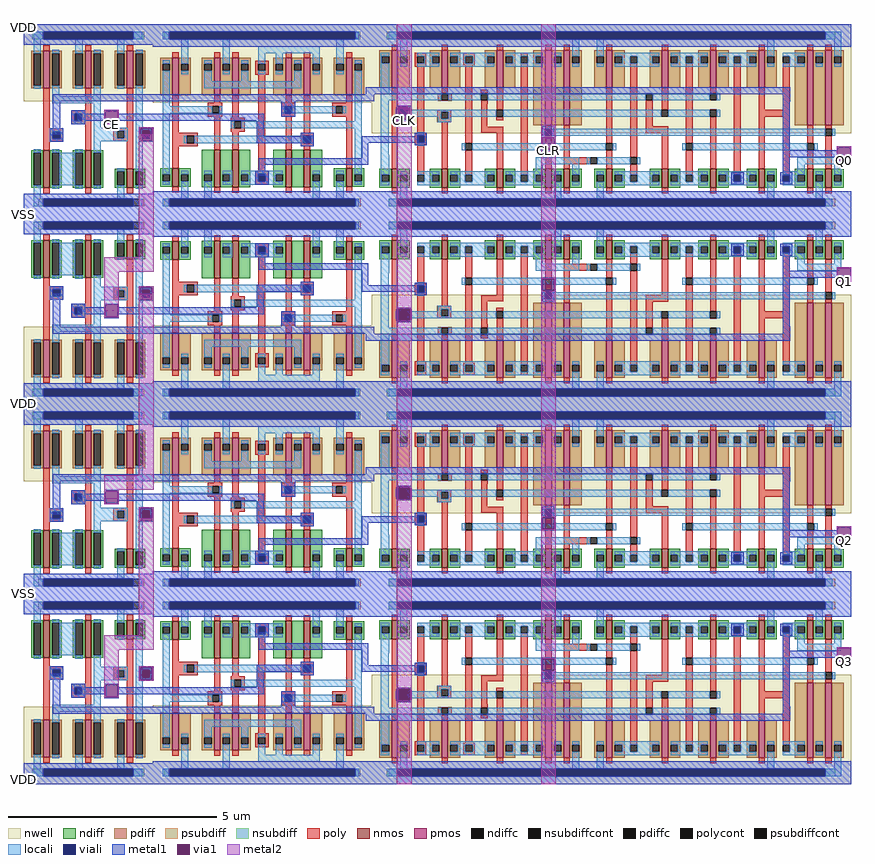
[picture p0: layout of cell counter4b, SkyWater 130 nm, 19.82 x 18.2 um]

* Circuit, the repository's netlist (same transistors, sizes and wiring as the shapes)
* NGSPICE file created from counter4b.ext - technology: sky130A

.subckt dffc VSS VDD Q CLK CLR D
X0 a_298_20# CLK D VSS sky130_fd_pr__nfet_01v8 ad=2.61e+11p pd=2.96e+06u as=1.305e+11p ps=1.48e+06u w=450000u l=150000u
X1 a_1352_20# CLK a_852_n6# VDD sky130_fd_pr__pfet_01v8 ad=5.22e+11p pd=4.76e+06u as=5.22e+11p ps=4.76e+06u w=900000u l=150000u
X2 a_562_20# a_852_n6# VSS VSS sky130_fd_pr__nfet_01v8 ad=3.915e+11p pd=4.44e+06u as=6.525e+11p ps=7.4e+06u w=450000u l=150000u
X3 Qb a_n30_20# a_1352_20# VDD sky130_fd_pr__pfet_01v8 ad=5.22e+11p pd=4.76e+06u as=0p ps=0u w=900000u l=150000u
X4 VSS CLK a_n30_20# VSS sky130_fd_pr__nfet_01v8 ad=0p pd=0u as=1.305e+11p ps=1.48e+06u w=450000u l=150000u
X5 VDD Q Qb VDD sky130_fd_pr__pfet_01v8 ad=1.827e+12p pd=1.55e+07u as=0p ps=0u w=900000u l=150000u
X6 VSS a_1352_20# Q VSS sky130_fd_pr__nfet_01v8 ad=0p pd=0u as=2.61e+11p ps=2.96e+06u w=450000u l=150000u
X7 a_562_20# a_n30_20# a_298_20# VSS sky130_fd_pr__nfet_01v8 ad=0p pd=0u as=0p ps=0u w=450000u l=150000u
X8 a_562_20# CLK a_298_20# VDD sky130_fd_pr__pfet_01v8 ad=7.83e+11p pd=6.56e+06u as=5.22e+11p ps=4.76e+06u w=900000u l=150000u
X9 VDD CLK a_n30_20# VDD sky130_fd_pr__pfet_01v8 ad=0p pd=0u as=2.61e+11p ps=2.38e+06u w=900000u l=150000u
X10 a_1352_20# a_n30_20# a_852_n6# VSS sky130_fd_pr__nfet_01v8 ad=2.61e+11p pd=2.96e+06u as=2.61e+11p ps=2.96e+06u w=450000u l=150000u
X11 VSS CLR a_562_20# VSS sky130_fd_pr__nfet_01v8 ad=0p pd=0u as=0p ps=0u w=450000u l=150000u
X12 Q CLR VSS VSS sky130_fd_pr__nfet_01v8 ad=0p pd=0u as=0p ps=0u w=450000u l=150000u
X13 a_852_n6# a_298_20# VDD VDD sky130_fd_pr__pfet_01v8 ad=0p pd=0u as=0p ps=0u w=900000u l=150000u
X14 a_298_20# a_n30_20# D VDD sky130_fd_pr__pfet_01v8 ad=0p pd=0u as=2.61e+11p ps=2.38e+06u w=900000u l=150000u
X15 Qb CLK a_1352_20# VSS sky130_fd_pr__nfet_01v8 ad=2.61e+11p pd=2.96e+06u as=0p ps=0u w=450000u l=150000u
X16 VDD CLR a_2048_318# VDD sky130_fd_pr__pfet_01v8 ad=0p pd=0u as=5.22e+11p ps=4.18e+06u w=1.8e+06u l=150000u
X17 a_852_n6# a_298_20# VSS VSS sky130_fd_pr__nfet_01v8 ad=0p pd=0u as=0p ps=0u w=450000u l=150000u
X18 VDD a_852_n6# a_794_318# VDD sky130_fd_pr__pfet_01v8 ad=0p pd=0u as=5.22e+11p ps=4.18e+06u w=1.8e+06u l=150000u
X19 a_2048_318# a_1352_20# Q VDD sky130_fd_pr__pfet_01v8 ad=0p pd=0u as=5.22e+11p ps=4.18e+06u w=1.8e+06u l=150000u
X20 a_794_318# CLR a_562_20# VDD sky130_fd_pr__pfet_01v8 ad=0p pd=0u as=0p ps=0u w=1.8e+06u l=150000u
X21 VSS Q Qb VSS sky130_fd_pr__nfet_01v8 ad=0p pd=0u as=0p ps=0u w=450000u l=150000u
.ends

.subckt xor VSS VDD Z A B
X0 a_1372_26# A Z VSS sky130_fd_pr__nfet_01v8 ad=2.61e+11p pd=2.38e+06u as=5.22e+11p ps=4.76e+06u w=900000u l=150000u
X1 Z B a_942_466# VDD sky130_fd_pr__pfet_01v8 ad=5.22e+11p pd=4.76e+06u as=7.83e+11p ps=7.14e+06u w=900000u l=150000u
X2 a_942_466# a_1080_292# VDD VDD sky130_fd_pr__pfet_01v8 ad=0p pd=0u as=7.83e+11p ps=7.14e+06u w=900000u l=150000u
X3 a_1080_292# A VDD VDD sky130_fd_pr__pfet_01v8 ad=2.61e+11p pd=2.38e+06u as=0p ps=0u w=900000u l=150000u
X4 a_942_466# A Z VDD sky130_fd_pr__pfet_01v8 ad=0p pd=0u as=0p ps=0u w=900000u l=150000u
X5 VDD B a_742_28# VDD sky130_fd_pr__pfet_01v8 ad=0p pd=0u as=2.61e+11p ps=2.38e+06u w=900000u l=150000u
X6 VDD a_742_28# a_942_466# VDD sky130_fd_pr__pfet_01v8 ad=0p pd=0u as=0p ps=0u w=900000u l=150000u
X7 a_1080_292# A VSS VSS sky130_fd_pr__nfet_01v8 ad=1.305e+11p pd=1.48e+06u as=7.83e+11p ps=7.72e+06u w=450000u l=150000u
X8 a_1030_26# a_742_28# VSS VSS sky130_fd_pr__nfet_01v8 ad=2.61e+11p pd=2.38e+06u as=0p ps=0u w=900000u l=150000u
X9 VSS B a_742_28# VSS sky130_fd_pr__nfet_01v8 ad=0p pd=0u as=1.305e+11p ps=1.48e+06u w=450000u l=150000u
X10 VSS B a_1372_26# VSS sky130_fd_pr__nfet_01v8 ad=0p pd=0u as=0p ps=0u w=900000u l=150000u
X11 Z a_1080_292# a_1030_26# VSS sky130_fd_pr__nfet_01v8 ad=0p pd=0u as=0p ps=0u w=900000u l=150000u
.ends

.subckt sky130_fd_pr__nfet_01v8_J6HC3N VSUBS a_n73_n45# a_n15_n71# a_15_n45#
X0 a_15_n45# a_n15_n71# a_n73_n45# VSUBS sky130_fd_pr__nfet_01v8 ad=1.305e+11p pd=1.48e+06u as=1.305e+11p ps=1.48e+06u w=450000u l=150000u
.ends

.subckt sky130_fd_pr__pfet_01v8_5AY9XA VSUBS a_n15_n116# a_n73_n90# w_n109_n152# a_15_n90#
X0 a_15_n90# a_n15_n116# a_n73_n90# w_n109_n152# sky130_fd_pr__pfet_01v8 ad=2.61e+11p pd=2.38e+06u as=2.61e+11p ps=2.38e+06u w=900000u l=150000u
.ends

.subckt sky130_fd_pr__nfet_01v8_PEKVP3 VSUBS a_n15_n116# a_n73_n90# a_15_n90#
X0 a_15_n90# a_n15_n116# a_n73_n90# VSUBS sky130_fd_pr__nfet_01v8 ad=2.61e+11p pd=2.38e+06u as=2.61e+11p ps=2.38e+06u w=900000u l=150000u
.ends

.subckt and VSS VDD Z A B
Xsky130_fd_pr__nfet_01v8_J6HC3N_0 VSS VSS a_394_4# Z sky130_fd_pr__nfet_01v8_J6HC3N
Xsky130_fd_pr__pfet_01v8_5AY9XA_0 VSS B VDD VDD a_394_4# sky130_fd_pr__pfet_01v8_5AY9XA
Xsky130_fd_pr__pfet_01v8_5AY9XA_1 VSS A VDD VDD a_394_4# sky130_fd_pr__pfet_01v8_5AY9XA
Xsky130_fd_pr__pfet_01v8_5AY9XA_2 VSS a_394_4# VDD VDD Z sky130_fd_pr__pfet_01v8_5AY9XA
Xsky130_fd_pr__nfet_01v8_PEKVP3_1 VSS A li_134_n206# a_394_4# sky130_fd_pr__nfet_01v8_PEKVP3
Xsky130_fd_pr__nfet_01v8_PEKVP3_0 VSS B VSS li_134_n206# sky130_fd_pr__nfet_01v8_PEKVP3
.ends

.subckt counter1b VSS CE CLK VDD Dn CLR Sout
Xdffc_0 VSS VDD Dn CLK CLR xor_0/Z dffc
Xxor_0 VSS VDD xor_0/Z Dn CE xor
Xand_0 VSS VDD Sout CE Dn and
.ends


* Top level circuit counter4b

Xcounter1b_0 VSS CE CLK VDD Q0 CLR counter1b_1/CE counter1b
Xcounter1b_1 VSS counter1b_1/CE CLK VDD Q1 CLR counter1b_2/CE counter1b
Xcounter1b_2 VSS counter1b_2/CE CLK VDD Q2 CLR counter1b_3/CE counter1b
Xcounter1b_3 VSS counter1b_3/CE CLK VDD Q3 CLR counter1b_3/Sout counter1b
.end

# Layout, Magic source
magic
tech sky130A
magscale 1 2
<< metal1 >>
rect 0 872 3964 910
rect 0 -18 3964 20
rect 0 -929 3964 -891
rect 0 -1839 3964 -1801
rect 0 -2730 3964 -2692
<< metal2 >>
rect 386 429 456 499
rect 1788 448 1858 518
rect 552 -206 622 383
rect 2478 303 2548 373
rect 3894 254 3964 324
rect 386 -276 622 -206
rect 386 -466 456 -276
rect 3894 -324 3964 -254
rect 552 -1251 622 -383
rect 386 -1321 622 -1251
rect 386 -1364 456 -1321
rect 552 -2018 622 -1458
rect 3894 -1566 3964 -1496
rect 386 -2088 622 -2018
rect 386 -2251 456 -2088
rect 3894 -2144 3964 -2074
use counter1b  counter1b_3
transform 1 0 1668 0 -1 -1820
box -1668 0 2296 910
use counter1b  counter1b_2
transform 1 0 1668 0 1 -1820
box -1668 0 2296 910
use counter1b  counter1b_1
transform 1 0 1668 0 -1 0
box -1668 0 2296 910
use counter1b  counter1b_0
transform 1 0 1668 0 1 0
box -1668 0 2296 910
<< labels >>
rlabel metal2 420 429 420 429 5 CE
rlabel metal1 0 -2710 0 -2710 7 VDD
rlabel metal1 0 -1819 0 -1819 7 VSS
rlabel metal1 0 -907 0 -907 7 VDD
rlabel metal1 0 0 0 0 7 VSS
rlabel metal1 0 891 0 891 7 VDD
rlabel metal2 1823 448 1823 448 5 CLK
rlabel metal2 2513 303 2513 303 5 CLR
rlabel metal2 3929 254 3929 254 5 Q0
rlabel metal2 3930 -1566 3930 -1566 5 Q2
rlabel metal2 3929 -324 3929 -324 5 Q1
rlabel metal2 3929 -2144 3929 -2144 5 Q3
rlabel metal1 0 -2730 0 -2730 7 VDD
rlabel metal1 0 -929 0 -929 7 VDD
rlabel metal1 0 872 0 872 7 VDD
rlabel metal1 0 -18 0 -18 7 VSS
rlabel metal1 0 -1839 0 -1839 7 VSS
<< end >>

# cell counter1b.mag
magic
tech sky130A
magscale 1 2
<< metal1 >>
rect -1668 877 2296 910
rect -29 574 2003 607
rect -429 573 12 574
rect -1529 541 12 573
rect -1529 381 -1494 541
rect -434 517 -368 541
rect 1967 540 2003 574
rect -434 513 -383 517
rect -1282 493 -1212 499
rect -1282 481 -1276 493
rect -1409 447 -1276 481
rect -1282 435 -1276 447
rect -1218 481 -1212 493
rect -418 488 -383 513
rect 120 512 190 518
rect -1218 447 -518 481
rect 120 454 126 512
rect 184 454 190 512
rect 120 448 190 454
rect -1218 435 -1212 447
rect -1282 429 -1212 435
rect -1116 410 -1046 416
rect -1116 352 -1110 410
rect -1052 352 -1046 410
rect -1116 346 -1046 352
rect -552 373 -518 447
rect -552 339 -296 373
rect -49 342 223 373
rect 810 367 880 373
rect -49 266 -18 342
rect 810 309 816 367
rect 874 309 880 367
rect 810 303 880 309
rect 1967 305 2002 540
rect 2226 318 2296 324
rect 2226 305 2232 318
rect -542 235 -18 266
rect 1967 271 2232 305
rect -542 184 -511 235
rect 1967 185 2002 271
rect 2226 260 2232 271
rect 2290 260 2296 318
rect 2226 254 2296 260
rect -1668 0 2296 33
<< via1 >>
rect -1276 435 -1218 493
rect 126 454 184 512
rect -1110 352 -1052 410
rect 816 309 874 367
rect 2232 260 2290 318
<< metal2 >>
rect 120 512 190 910
rect -1282 493 -1212 498
rect -1282 435 -1276 493
rect -1218 435 -1212 493
rect -1282 429 -1212 435
rect 120 454 126 512
rect 184 454 190 512
rect -1116 410 -1046 416
rect -1116 352 -1110 410
rect -1052 352 -1046 410
rect -1116 346 -1046 352
rect 120 0 190 454
rect 810 367 880 910
rect 810 309 816 367
rect 874 309 880 367
rect 810 0 880 309
rect 2226 318 2296 324
rect 2226 260 2232 318
rect 2290 260 2296 318
rect 2226 254 2296 260
use xor_scan  xor_scan_0
transform 1 0 -1756 0 1 102
box 706 -102 1756 808
use dffc  dffc_0
transform 1 0 66 0 1 106
box -66 -106 2230 804
use and_scan  and_scan_0
transform 1 0 -1632 0 1 344
box -36 -344 582 566
<< labels >>
rlabel metal2 845 910 845 910 1 CLR
rlabel metal2 2296 288 2296 288 3 Dn
rlabel metal2 157 910 157 910 1 CLK
rlabel metal2 -1246 498 -1246 498 1 CE
rlabel metal2 -1081 346 -1081 346 5 Sout
rlabel metal1 260 910 260 910 1 VDD
rlabel metal1 226 0 226 0 5 VSS
rlabel metal1 15 16 15 16 5 VSS
rlabel space 15 852 15 852 5 VDD
<< end >>

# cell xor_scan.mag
magic
tech sky130A
magscale 1 2
<< nwell >>
rect 706 430 1756 808
<< nmos >>
rect 800 28 830 118
rect 1000 26 1030 206
rect 1088 26 1118 206
rect 1342 26 1372 206
rect 1430 26 1460 206
rect 1632 28 1662 118
<< pmos >>
rect 800 466 830 646
rect 1000 466 1030 646
rect 1088 466 1118 646
rect 1342 466 1372 646
rect 1430 466 1460 646
rect 1632 466 1662 646
<< ndiff >>
rect 742 88 800 118
rect 742 54 754 88
rect 788 54 800 88
rect 742 28 800 54
rect 830 88 888 118
rect 830 54 842 88
rect 876 54 888 88
rect 830 28 888 54
rect 942 88 1000 206
rect 942 54 954 88
rect 988 54 1000 88
rect 942 26 1000 54
rect 1030 88 1088 206
rect 1030 54 1042 88
rect 1076 54 1088 88
rect 1030 26 1088 54
rect 1118 88 1174 206
rect 1118 54 1130 88
rect 1164 54 1174 88
rect 1118 26 1174 54
rect 1284 88 1342 206
rect 1284 54 1296 88
rect 1330 54 1342 88
rect 1284 26 1342 54
rect 1372 26 1430 206
rect 1460 88 1518 206
rect 1460 54 1472 88
rect 1506 54 1518 88
rect 1460 26 1518 54
rect 1574 88 1632 118
rect 1574 54 1586 88
rect 1620 54 1632 88
rect 1574 28 1632 54
rect 1662 88 1720 118
rect 1662 54 1674 88
rect 1708 54 1720 88
rect 1662 28 1720 54
<< pdiff >>
rect 742 618 800 646
rect 742 584 754 618
rect 788 584 800 618
rect 742 466 800 584
rect 830 618 888 646
rect 830 584 842 618
rect 876 584 888 618
rect 830 466 888 584
rect 942 618 1000 646
rect 942 584 954 618
rect 988 584 1000 618
rect 942 466 1000 584
rect 1030 618 1088 646
rect 1030 584 1042 618
rect 1076 584 1088 618
rect 1030 466 1088 584
rect 1118 618 1176 646
rect 1118 584 1130 618
rect 1164 584 1176 618
rect 1118 466 1176 584
rect 1284 618 1342 646
rect 1284 584 1296 618
rect 1330 584 1342 618
rect 1284 466 1342 584
rect 1372 618 1430 646
rect 1372 584 1384 618
rect 1418 584 1430 618
rect 1372 466 1430 584
rect 1460 618 1518 646
rect 1460 584 1472 618
rect 1506 584 1518 618
rect 1460 466 1518 584
rect 1574 618 1632 646
rect 1574 584 1586 618
rect 1620 584 1632 618
rect 1574 466 1632 584
rect 1662 618 1720 646
rect 1662 584 1674 618
rect 1708 584 1720 618
rect 1662 466 1720 584
<< ndiffc >>
rect 754 54 788 88
rect 842 54 876 88
rect 954 54 988 88
rect 1042 54 1076 88
rect 1130 54 1164 88
rect 1296 54 1330 88
rect 1472 54 1506 88
rect 1586 54 1620 88
rect 1674 54 1708 88
<< pdiffc >>
rect 754 584 788 618
rect 842 584 876 618
rect 954 584 988 618
rect 1042 584 1076 618
rect 1130 584 1164 618
rect 1296 584 1330 618
rect 1384 584 1418 618
rect 1472 584 1506 618
rect 1586 584 1620 618
rect 1674 584 1708 618
<< psubdiff >>
rect 762 -64 786 -30
rect 1678 -64 1702 -30
<< nsubdiff >>
rect 762 736 786 770
rect 1676 736 1700 770
<< psubdiffcont >>
rect 786 -64 1678 -30
<< nsubdiffcont >>
rect 786 736 1676 770
<< poly >>
rect 800 646 830 672
rect 1000 646 1030 672
rect 1088 646 1118 672
rect 1342 646 1372 672
rect 1430 646 1460 672
rect 1632 646 1662 672
rect 1196 618 1262 632
rect 1196 584 1212 618
rect 1246 584 1262 618
rect 1196 566 1262 584
rect 800 288 830 466
rect 1000 430 1030 466
rect 970 414 1038 430
rect 970 380 990 414
rect 1024 380 1038 414
rect 970 364 1038 380
rect 800 272 922 288
rect 800 238 870 272
rect 904 238 922 272
rect 800 222 922 238
rect 800 118 830 222
rect 1000 206 1030 364
rect 1088 358 1118 466
rect 1080 342 1146 358
rect 1080 308 1096 342
rect 1130 308 1146 342
rect 1080 292 1146 308
rect 1088 206 1118 292
rect 800 2 830 28
rect 1212 104 1246 566
rect 1342 430 1372 466
rect 1322 414 1388 430
rect 1322 380 1338 414
rect 1372 380 1388 414
rect 1322 364 1388 380
rect 1342 206 1372 364
rect 1430 288 1460 466
rect 1632 430 1662 466
rect 1566 414 1662 430
rect 1566 380 1582 414
rect 1616 380 1662 414
rect 1566 364 1662 380
rect 1414 272 1478 288
rect 1414 238 1428 272
rect 1462 238 1478 272
rect 1414 222 1478 238
rect 1430 206 1460 222
rect 1196 90 1262 104
rect 1196 54 1212 90
rect 1246 54 1262 90
rect 1196 38 1262 54
rect 1632 118 1662 364
rect 1000 0 1030 26
rect 1088 0 1118 26
rect 1342 0 1372 26
rect 1430 0 1460 26
rect 1632 2 1662 28
<< polycont >>
rect 1212 584 1246 618
rect 990 380 1024 414
rect 870 238 904 272
rect 1096 308 1130 342
rect 1338 380 1372 414
rect 1582 380 1616 414
rect 1428 238 1462 272
rect 1212 54 1246 90
<< locali >>
rect 754 736 786 770
rect 1676 736 1692 770
rect 754 618 788 634
rect 754 414 788 584
rect 842 618 876 736
rect 842 568 876 584
rect 954 618 988 634
rect 954 534 988 584
rect 1042 618 1076 736
rect 1212 668 1506 702
rect 1042 568 1076 584
rect 1130 618 1164 634
rect 1130 534 1164 584
rect 1212 618 1246 668
rect 1212 568 1246 584
rect 1296 618 1330 668
rect 1296 568 1330 584
rect 1384 618 1418 634
rect 1384 534 1418 584
rect 1472 618 1506 668
rect 1472 568 1506 584
rect 1586 618 1620 736
rect 1586 568 1620 584
rect 1674 618 1708 634
rect 954 500 1418 534
rect 754 380 990 414
rect 1024 380 1040 414
rect 1322 380 1338 414
rect 1372 380 1582 414
rect 1616 380 1632 414
rect 754 88 788 380
rect 1674 342 1708 584
rect 1080 308 1096 342
rect 1130 308 1708 342
rect 854 238 870 272
rect 904 238 1428 272
rect 1462 238 1478 272
rect 754 38 788 54
rect 842 88 876 104
rect 842 -30 876 54
rect 954 88 988 104
rect 954 -30 988 54
rect 1042 88 1088 104
rect 1076 54 1088 88
rect 1042 38 1088 54
rect 1130 90 1330 104
rect 1130 88 1212 90
rect 1164 54 1212 88
rect 1246 88 1330 90
rect 1246 54 1296 88
rect 1130 38 1330 54
rect 1472 88 1506 104
rect 1472 -30 1506 54
rect 1586 88 1620 104
rect 1586 -30 1620 54
rect 1674 88 1708 308
rect 1674 38 1708 54
rect 754 -64 786 -30
rect 1678 -64 1694 -30
<< viali >>
rect 786 736 1676 770
rect 1338 380 1372 414
rect 1428 238 1462 272
rect 1212 54 1246 90
rect 786 -64 1676 -30
<< metal1 >>
rect 706 770 1756 808
rect 706 736 786 770
rect 1676 736 1756 770
rect 706 698 1756 736
rect 1322 414 1388 430
rect 1322 380 1338 414
rect 1372 380 1388 414
rect 1322 364 1388 380
rect 1414 272 1478 288
rect 1414 238 1428 272
rect 1462 238 1478 272
rect 1414 222 1478 238
rect 1196 90 1262 104
rect 1196 54 1212 90
rect 1246 54 1262 90
rect 1196 38 1262 54
rect 706 -30 1756 8
rect 706 -64 786 -30
rect 1676 -64 1756 -30
rect 706 -102 1756 -64
<< labels >>
rlabel metal1 1196 38 1262 54 5 Z
rlabel metal1 1228 808 1228 808 1 VDD
rlabel metal1 1228 -102 1228 -102 5 VSS
rlabel metal1 1446 222 1446 222 5 B
rlabel metal1 1322 364 1388 380 5 A
<< end >>

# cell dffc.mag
magic
tech sky130A
magscale 1 2
<< nwell >>
rect -66 280 2230 804
<< nmos >>
rect 28 20 58 110
rect 268 20 298 110
rect 532 20 562 110
rect 764 20 794 110
rect 852 20 882 110
rect 1056 20 1086 110
rect 1322 20 1352 110
rect 1554 20 1584 110
rect 1786 20 1816 110
rect 2018 20 2048 110
rect 2106 20 2136 110
<< pmos >>
rect 28 498 58 678
rect 268 498 298 678
rect 532 498 562 678
rect 764 318 794 678
rect 852 318 882 678
rect 1056 498 1086 678
rect 1322 498 1352 678
rect 1554 498 1584 678
rect 1786 498 1816 678
rect 2018 318 2048 678
rect 2106 318 2136 678
<< ndiff >>
rect -30 82 28 110
rect -30 48 -18 82
rect 16 48 28 82
rect -30 20 28 48
rect 58 82 116 110
rect 58 48 70 82
rect 104 48 116 82
rect 210 82 268 110
rect 210 48 222 82
rect 256 48 268 82
rect 58 20 116 48
rect 210 20 268 48
rect 298 82 356 110
rect 298 48 310 82
rect 344 48 356 82
rect 474 82 532 110
rect 474 48 486 82
rect 520 48 532 82
rect 298 20 356 48
rect 474 20 532 48
rect 562 82 620 110
rect 562 48 574 82
rect 608 48 620 82
rect 706 82 764 110
rect 706 48 718 82
rect 752 48 764 82
rect 562 20 620 48
rect 706 20 764 48
rect 794 82 852 110
rect 794 48 806 82
rect 840 48 852 82
rect 794 20 852 48
rect 882 82 940 110
rect 882 48 894 82
rect 928 48 940 82
rect 882 20 940 48
rect 998 82 1056 110
rect 998 48 1010 82
rect 1044 48 1056 82
rect 998 20 1056 48
rect 1086 82 1144 110
rect 1086 48 1098 82
rect 1132 48 1144 82
rect 1264 82 1322 110
rect 1264 48 1276 82
rect 1310 48 1322 82
rect 1086 20 1144 48
rect 1264 20 1322 48
rect 1352 82 1410 110
rect 1352 48 1364 82
rect 1398 48 1410 82
rect 1496 82 1554 110
rect 1496 48 1508 82
rect 1542 48 1554 82
rect 1352 20 1410 48
rect 1496 20 1554 48
rect 1584 82 1642 110
rect 1584 48 1596 82
rect 1630 48 1642 82
rect 1728 82 1786 110
rect 1728 48 1740 82
rect 1774 48 1786 82
rect 1584 20 1642 48
rect 1728 20 1786 48
rect 1816 82 1874 110
rect 1816 48 1828 82
rect 1862 48 1874 82
rect 1960 82 2018 110
rect 1960 48 1972 82
rect 2006 48 2018 82
rect 1816 20 1874 48
rect 1960 20 2018 48
rect 2048 82 2106 110
rect 2048 48 2060 82
rect 2094 48 2106 82
rect 2048 20 2106 48
rect 2136 82 2194 110
rect 2136 48 2148 82
rect 2182 48 2194 82
rect 2136 20 2194 48
<< pdiff >>
rect -30 650 28 678
rect -30 616 -18 650
rect 16 616 28 650
rect -30 498 28 616
rect 58 650 116 678
rect 58 616 70 650
rect 104 616 116 650
rect 58 498 116 616
rect 210 650 268 678
rect 210 616 222 650
rect 256 616 268 650
rect 210 498 268 616
rect 298 650 356 678
rect 298 616 310 650
rect 344 616 356 650
rect 298 498 356 616
rect 474 650 532 678
rect 474 616 486 650
rect 520 616 532 650
rect 474 498 532 616
rect 562 650 620 678
rect 562 616 574 650
rect 608 616 620 650
rect 562 498 620 616
rect 706 650 764 678
rect 706 616 718 650
rect 752 616 764 650
rect 706 318 764 616
rect 794 650 852 678
rect 794 616 806 650
rect 840 616 852 650
rect 794 318 852 616
rect 882 650 940 678
rect 882 616 894 650
rect 928 616 940 650
rect 882 318 940 616
rect 998 650 1056 678
rect 998 616 1010 650
rect 1044 616 1056 650
rect 998 498 1056 616
rect 1086 650 1144 678
rect 1264 650 1322 678
rect 1086 616 1098 650
rect 1132 616 1144 650
rect 1086 498 1144 616
rect 1264 616 1276 650
rect 1310 616 1322 650
rect 1264 498 1322 616
rect 1352 650 1410 678
rect 1496 650 1554 678
rect 1352 616 1364 650
rect 1398 616 1410 650
rect 1352 498 1410 616
rect 1496 616 1508 650
rect 1542 616 1554 650
rect 1496 498 1554 616
rect 1584 650 1642 678
rect 1728 650 1786 678
rect 1584 616 1596 650
rect 1630 616 1642 650
rect 1584 498 1642 616
rect 1728 616 1740 650
rect 1774 616 1786 650
rect 1728 498 1786 616
rect 1816 650 1874 678
rect 1960 650 2018 678
rect 1816 616 1828 650
rect 1862 616 1874 650
rect 1816 498 1874 616
rect 1960 616 1972 650
rect 2006 616 2018 650
rect 1960 318 2018 616
rect 2048 650 2106 678
rect 2048 616 2060 650
rect 2094 616 2106 650
rect 2048 318 2106 616
rect 2136 650 2194 678
rect 2136 616 2148 650
rect 2182 616 2194 650
rect 2136 318 2194 616
<< ndiffc >>
rect -18 48 16 82
rect 70 48 104 82
rect 222 48 256 82
rect 310 48 344 82
rect 486 48 520 82
rect 574 48 608 82
rect 718 48 752 82
rect 806 48 840 82
rect 894 48 928 82
rect 1010 48 1044 82
rect 1098 48 1132 82
rect 1276 48 1310 82
rect 1364 48 1398 82
rect 1508 48 1542 82
rect 1596 48 1630 82
rect 1740 48 1774 82
rect 1828 48 1862 82
rect 1972 48 2006 82
rect 2060 48 2094 82
rect 2148 48 2182 82
<< pdiffc >>
rect -18 616 16 650
rect 70 616 104 650
rect 222 616 256 650
rect 310 616 344 650
rect 486 616 520 650
rect 574 616 608 650
rect 718 616 752 650
rect 806 616 840 650
rect 894 616 928 650
rect 1010 616 1044 650
rect 1098 616 1132 650
rect 1276 616 1310 650
rect 1364 616 1398 650
rect 1508 616 1542 650
rect 1596 616 1630 650
rect 1740 616 1774 650
rect 1828 616 1862 650
rect 1972 616 2006 650
rect 2060 616 2094 650
rect 2148 616 2182 650
<< psubdiff >>
rect 14 -68 58 -34
rect 2106 -68 2154 -34
<< nsubdiff >>
rect 4 732 58 766
rect 2106 732 2154 766
<< psubdiffcont >>
rect 58 -68 2106 -34
<< nsubdiffcont >>
rect 58 732 2106 766
<< poly >>
rect 28 678 58 704
rect 268 678 298 704
rect 532 678 562 704
rect 764 678 794 704
rect 852 678 882 704
rect 1056 678 1086 704
rect 1322 678 1352 704
rect 1554 678 1584 704
rect 1786 678 1816 704
rect 2018 678 2048 704
rect 2106 678 2136 704
rect 140 650 194 666
rect 140 616 150 650
rect 184 616 194 650
rect 140 600 194 616
rect 28 410 58 498
rect 28 394 108 410
rect 28 360 64 394
rect 98 360 108 394
rect 28 344 108 360
rect 28 110 58 344
rect 150 280 184 600
rect 372 650 426 666
rect 372 616 382 650
rect 416 616 426 650
rect 372 606 426 616
rect 380 600 416 606
rect 268 472 298 498
rect 250 438 266 472
rect 300 438 316 472
rect 250 436 316 438
rect 247 384 315 394
rect 247 350 265 384
rect 299 350 315 384
rect 247 333 315 350
rect 140 270 194 280
rect 140 236 150 270
rect 184 236 194 270
rect 140 226 194 236
rect 150 82 184 226
rect 268 110 298 333
rect 380 234 414 600
rect 646 650 680 666
rect 455 472 489 488
rect 457 422 489 438
rect 457 312 487 422
rect 532 394 562 498
rect 530 344 564 360
rect 457 282 562 312
rect 380 82 414 200
rect 532 110 562 282
rect 646 82 680 616
rect 764 302 794 318
rect 764 110 794 268
rect 852 166 882 318
rect 1056 234 1086 498
rect 852 132 980 166
rect 852 110 882 132
rect 1056 110 1086 200
rect 1170 166 1204 616
rect 1246 314 1280 438
rect 1322 394 1352 498
rect 1246 280 1352 314
rect 1170 82 1204 132
rect 1322 110 1352 280
rect 1436 234 1470 616
rect 1554 472 1584 498
rect 1554 394 1584 396
rect 1436 82 1470 200
rect 1554 110 1584 360
rect 1666 82 1700 616
rect 1786 394 1816 498
rect 1902 394 1936 616
rect 1786 360 1936 394
rect 1786 110 1816 360
rect 1902 82 1936 360
rect 2018 234 2048 318
rect 2106 302 2136 318
rect 2018 110 2048 200
rect 2106 110 2136 268
rect 28 -6 58 20
rect 268 -6 298 20
rect 532 -6 562 20
rect 764 -6 794 20
rect 852 -6 882 20
rect 1056 -6 1086 20
rect 1322 -6 1352 20
rect 1554 -6 1584 20
rect 1786 -6 1816 20
rect 2018 -6 2048 20
rect 2106 -6 2136 20
<< polycont >>
rect 150 616 184 650
rect 64 360 98 394
rect 382 616 416 650
rect 266 438 300 472
rect 265 350 299 384
rect 150 236 184 270
rect 646 616 680 650
rect 455 438 489 472
rect 530 360 564 394
rect 380 200 414 234
rect 150 48 184 82
rect 380 48 414 82
rect 1170 616 1204 650
rect 762 268 796 302
rect 1054 200 1088 234
rect 980 132 1014 166
rect 1436 616 1470 650
rect 1246 438 1280 472
rect 1320 360 1354 394
rect 1170 132 1204 166
rect 646 48 680 82
rect 1666 616 1700 650
rect 1552 438 1586 472
rect 1552 360 1586 394
rect 1436 200 1470 234
rect 1170 48 1204 82
rect 1436 48 1470 82
rect 1902 616 1936 650
rect 1666 48 1700 82
rect 2104 268 2138 302
rect 2018 200 2052 234
rect 1902 48 1936 82
<< locali >>
rect 14 732 58 766
rect 2106 732 2182 766
rect -23 650 16 666
rect -23 616 -18 650
rect -23 472 16 616
rect 70 650 104 732
rect 70 600 104 616
rect 150 650 256 666
rect 184 616 222 650
rect 150 600 256 616
rect 310 650 520 666
rect 344 616 382 650
rect 416 616 486 650
rect 310 600 520 616
rect 574 650 752 666
rect 608 616 646 650
rect 680 616 718 650
rect 574 600 752 616
rect 806 650 840 666
rect 806 600 840 616
rect 894 650 928 732
rect 894 600 928 616
rect 1010 650 1044 732
rect 1010 600 1044 616
rect 1098 650 1310 666
rect 1132 616 1170 650
rect 1204 616 1276 650
rect 1098 600 1310 616
rect 1364 650 1542 666
rect 1398 616 1436 650
rect 1470 616 1508 650
rect 1364 600 1542 616
rect 1596 650 1774 666
rect 1630 616 1666 650
rect 1700 616 1740 650
rect 1596 600 1774 616
rect 1828 650 1862 732
rect 1828 600 1862 616
rect 1902 650 2006 666
rect 1936 616 1972 650
rect 1902 600 2006 616
rect 2060 650 2094 666
rect 2060 600 2094 616
rect 2148 650 2182 732
rect 2148 600 2182 616
rect -23 438 266 472
rect 300 438 455 472
rect 489 438 1246 472
rect 1280 438 1552 472
rect 1586 438 1602 472
rect -23 175 14 438
rect 48 360 64 394
rect 98 384 530 394
rect 98 360 265 384
rect 249 350 265 360
rect 299 360 530 384
rect 564 360 1320 394
rect 1354 360 1552 394
rect 1586 360 1602 394
rect 299 350 315 360
rect 249 334 315 350
rect 150 270 184 286
rect 746 268 762 302
rect 796 268 2104 302
rect 2138 268 2154 302
rect 150 220 184 236
rect 364 200 380 234
rect 414 200 1054 234
rect 1088 200 1104 234
rect 1420 200 1436 234
rect 1470 200 2018 234
rect 2052 200 2068 234
rect -23 82 16 175
rect 718 132 928 166
rect 964 132 980 166
rect 1014 132 1170 166
rect 1204 132 1220 166
rect 1972 132 2182 166
rect 718 98 752 132
rect -23 48 -18 82
rect -23 32 16 48
rect 70 82 104 98
rect 70 -34 104 48
rect 150 82 256 98
rect 184 48 222 82
rect 150 32 256 48
rect 310 82 520 98
rect 344 48 380 82
rect 414 48 486 82
rect 310 32 520 48
rect 574 82 752 98
rect 608 48 646 82
rect 680 48 718 82
rect 574 32 752 48
rect 806 82 840 98
rect 806 -34 840 48
rect 894 82 928 132
rect 1972 98 2006 132
rect 894 32 928 48
rect 1010 82 1044 98
rect 1010 -34 1044 48
rect 1098 82 1310 98
rect 1132 48 1170 82
rect 1204 48 1276 82
rect 1098 32 1310 48
rect 1364 82 1542 98
rect 1398 48 1436 82
rect 1470 48 1508 82
rect 1364 32 1542 48
rect 1596 82 1774 98
rect 1630 48 1666 82
rect 1700 48 1740 82
rect 1596 32 1774 48
rect 1828 82 1862 98
rect 1828 -34 1862 48
rect 1902 82 2006 98
rect 1936 48 1972 82
rect 1902 32 2006 48
rect 2060 82 2094 98
rect 2060 -34 2094 48
rect 2148 82 2182 132
rect 2148 32 2182 48
rect 14 -68 58 -34
rect 2106 -68 2138 -34
<< viali >>
rect 58 732 2106 766
rect 64 360 98 394
rect 150 236 184 270
rect 762 268 796 302
rect 1666 48 1700 82
rect 1902 48 1936 82
rect 58 -68 2106 -34
<< metal1 >>
rect -66 766 2230 804
rect -66 732 58 766
rect 2106 732 2230 766
rect -66 694 2230 732
rect 50 394 118 406
rect 50 360 64 394
rect 98 360 118 394
rect 50 348 118 360
rect 750 302 808 314
rect 138 270 196 282
rect 138 236 150 270
rect 184 236 196 270
rect 750 268 762 302
rect 796 268 808 302
rect 750 256 808 268
rect 138 224 196 236
rect 1654 82 1714 94
rect 1654 48 1666 82
rect 1700 48 1714 82
rect 1654 36 1714 48
rect 1890 82 1948 94
rect 1890 48 1902 82
rect 1936 48 1948 82
rect 1890 36 1948 48
rect -66 -34 2230 4
rect -66 -68 58 -34
rect 2106 -68 2230 -34
rect -66 -106 2230 -68
<< labels >>
rlabel metal1 1072 -106 1072 -106 5 VSS
rlabel metal1 1070 804 1070 804 1 VDD
rlabel metal1 88 348 88 348 5 CLK
rlabel metal1 138 252 138 252 7 D
rlabel metal1 780 256 780 256 5 CLR
rlabel metal1 1684 36 1684 36 5 Qb
rlabel metal1 1920 36 1920 36 5 Q
<< end >>

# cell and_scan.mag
magic
tech sky130A
magscale 1 2
<< nwell >>
rect -36 500 582 566
rect -36 479 581 500
rect 375 467 581 479
rect -36 458 582 467
rect 375 197 581 458
<< psubdiff >>
rect 33 -306 57 -272
rect 517 -306 541 -272
<< nsubdiff >>
rect 5 494 57 528
rect 488 494 541 528
<< psubdiffcont >>
rect 57 -306 517 -272
<< nsubdiffcont >>
rect 57 494 488 528
<< poly >>
rect 58 67 88 233
rect 258 153 288 233
rect 193 137 288 153
rect 193 103 209 137
rect 243 103 288 137
rect 193 87 288 103
rect 58 51 154 67
rect 58 17 104 51
rect 138 17 154 51
rect 58 1 154 17
rect 58 -12 88 1
rect 258 -12 288 87
rect 458 70 488 233
rect 394 54 488 70
rect 394 20 411 54
rect 446 20 488 54
rect 394 4 488 20
rect 458 -102 488 4
<< polycont >>
rect 209 103 243 137
rect 104 17 138 51
rect 411 20 446 54
<< locali >>
rect 12 494 57 528
rect 488 494 533 528
rect 12 443 46 494
rect 212 443 246 494
rect 412 443 446 494
rect 100 221 134 255
rect 300 221 334 255
rect 100 187 334 221
rect 193 137 259 153
rect 193 103 209 137
rect 243 103 259 137
rect 193 87 259 103
rect 300 70 334 187
rect 88 51 154 67
rect 88 17 104 51
rect 138 17 154 51
rect 88 1 154 17
rect 300 54 462 70
rect 300 20 411 54
rect 446 20 462 54
rect 300 4 462 20
rect 300 -34 334 4
rect 134 -206 212 -50
rect 500 -124 534 255
rect 12 -272 46 -222
rect 412 -272 446 -222
rect 12 -306 57 -272
rect 517 -306 533 -272
<< viali >>
rect 57 494 488 528
rect 209 103 243 137
rect 104 17 138 51
rect 534 20 568 54
rect 57 -306 488 -272
<< metal1 >>
rect -36 528 582 566
rect -36 494 57 528
rect 488 494 582 528
rect -36 467 582 494
rect 193 137 259 153
rect 193 103 209 137
rect 243 103 259 137
rect 193 87 259 103
rect 88 51 154 67
rect 88 17 104 51
rect 138 17 154 51
rect 88 1 154 17
rect 522 54 580 66
rect 522 20 534 54
rect 568 20 580 54
rect 522 8 580 20
rect -36 -272 582 -246
rect -36 -306 57 -272
rect 488 -306 582 -272
rect -36 -344 582 -306
use sky130_fd_pr__pfet_01v8_5AY9XA  sky130_fd_pr__pfet_01v8_5AY9XA_0
transform 1 0 73 0 1 349
box -109 -152 109 152
use sky130_fd_pr__pfet_01v8_5AY9XA  sky130_fd_pr__pfet_01v8_5AY9XA_1
transform 1 0 273 0 1 349
box -109 -152 109 152
use sky130_fd_pr__nfet_01v8_J6HC3N  sky130_fd_pr__nfet_01v8_J6HC3N_0
transform 1 0 473 0 1 -173
box -73 -71 73 71
use sky130_fd_pr__pfet_01v8_5AY9XA  sky130_fd_pr__pfet_01v8_5AY9XA_2
transform 1 0 473 0 1 349
box -109 -152 109 152
use sky130_fd_pr__nfet_01v8_PEKVP3  sky130_fd_pr__nfet_01v8_PEKVP3_0
transform 1 0 73 0 1 -128
box -73 -116 73 116
use sky130_fd_pr__nfet_01v8_PEKVP3  sky130_fd_pr__nfet_01v8_PEKVP3_1
transform 1 0 273 0 1 -128
box -73 -116 73 116
<< labels >>
rlabel metal1 -36 -312 582 -306 5 VSS
rlabel metal1 -36 528 582 534 1 VDD
rlabel metal1 138 1 154 67 3 B
rlabel metal1 193 87 209 153 7 A
rlabel metal1 568 8 580 66 3 Z
<< end >>

# cell sky130_fd_pr__pfet_01v8_5AY9XA: kit device sky130_fd_pr__pfet_01v8, w 0.9 l 0.15 m 1 nf 1 diffcov 100 polycov 100 guard 0 glc 0 grc 0 gtc 0 gbc 0 tbcov 100 rlcov 100 topc 0 botc 0 poverlap 0 doverlap 0 lmin 0.15 wmin 0.42 compatible {sky130_fd_pr__pfet_01v8 sky130_fd_pr__pfet_01v8_lvt sky130_fd_pr__pfet_01v8_hvt sky130_fd_pr__pfet_g5v0d10v5} full_metal 0 viasrc 100 viadrn 100 viagate 100 viagb 0 viagr 0 viagl 0 viagt 0

# cell sky130_fd_pr__nfet_01v8_J6HC3N: kit device sky130_fd_pr__nfet_01v8, w 0.45 l 0.150 m 1 nf 1 diffcov 100 polycov 100 guard 0 glc 0 grc 0 gtc 0 gbc 0 tbcov 100 rlcov 100 topc 0 botc 0 poverlap 0 doverlap 0 lmin 0.15 wmin 0.42 compatible {sky130_fd_pr__nfet_01v8 sky130_fd_pr__nfet_01v8_lvt sky130_fd_bs_flash__special_sonosfet_star sky130_fd_pr__nfet_g5v0d10v5 sky130_fd_pr__nfet_05v0_nvt} full_metal 0 viasrc 100 viadrn 100 viagate 100 viagb 0 viagr 0 viagl 0 viagt 0

# cell sky130_fd_pr__nfet_01v8_PEKVP3: kit device sky130_fd_pr__nfet_01v8, w 0.9 l 0.150 m 1 nf 1 diffcov 100 polycov 100 guard 0 glc 0 grc 0 gtc 0 gbc 0 tbcov 100 rlcov 100 topc 0 botc 0 poverlap 0 doverlap 0 lmin 0.15 wmin 0.42 compatible {sky130_fd_pr__nfet_01v8 sky130_fd_pr__nfet_01v8_lvt sky130_fd_bs_flash__special_sonosfet_star sky130_fd_pr__nfet_g5v0d10v5 sky130_fd_pr__nfet_05v0_nvt} full_metal 0 viasrc 100 viadrn 100 viagate 100 viagb 0 viagr 0 viagl 0 viagt 0
